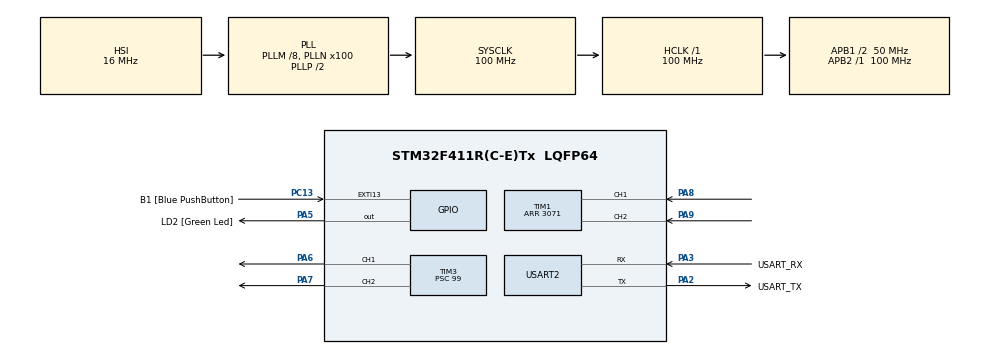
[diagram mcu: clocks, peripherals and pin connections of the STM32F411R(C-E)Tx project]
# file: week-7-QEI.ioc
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Mcu.Family=STM32F4
RCC.CortexFreq_Value=100000000
PA14.GPIO_Label=TCK
TIM1.EncoderMode=TIM_ENCODERMODE_TI12
RCC.SYSCLKSource=RCC_SYSCLKSOURCE_PLLCLK
ProjectManager.StackSize=0x400
PH0\ -\ OSC_IN.Signal=RCC_OSC_IN
RCC.HCLKFreq_Value=100000000
RCC.APB2TimFreq_Value=100000000
TIM3.Period=10000
RCC.AHBFreq_Value=100000000
TIM3.Channel-PWM\ Generation1\ CH1=TIM_CHANNEL_1
RCC.HSE_VALUE=8000000
PC13-ANTI_TAMP.Signal=GPXTI13
PC14-OSC32_IN.Mode=LSE-External-Oscillator
PA14.Mode=Serial_Wire
TIM3.Prescaler=99
NVIC.TIM2_IRQn=true\:0\:0\:false\:false\:true\:true\:true
PA8.Signal=S_TIM1_CH1
SH.S_TIM3_CH1.0=TIM3_CH1,PWM Generation1 CH1
RCC.FLatency-AdvancedSettings=FLASH_LATENCY_3
Mcu.Package=LQFP64
TIM2.Prescaler=99
PA6.Signal=S_TIM3_CH1
USART2.VirtualMode=VM_ASYNC
PA2.GPIO_Label=USART_TX
RCC.APB1TimFreq_Value=100000000
TIM3.Pulse-PWM\ Generation2\ CH2=0
TIM1.Period=3071
VP_TIM3_VS_ClockSourceINT.Mode=Internal
PA3.Signal=USART2_RX
PB3.GPIO_Label=SWO
PC15-OSC32_OUT.Mode=LSE-External-Oscillator
PC13-ANTI_TAMP.GPIO_Label=B1 [Blue PushButton]
PH1\ -\ OSC_OUT.Mode=HSE-External-Clock-Source
RCC.APB1CLKDivider=RCC_HCLK_DIV2
PC14-OSC32_IN.Signal=RCC_OSC32_IN
PA13.Signal=SYS_JTMS-SWDIO
PA3.Mode=Asynchronous
PH0\ -\ OSC_IN.Mode=HSE-External-Clock-Source
TIM3.Pulse-PWM\ Generation1\ CH1=0
SH.S_TIM1_CH1.0=TIM1_CH1,Encoder_Interface
ProjectManager.TargetToolchain=STM32CubeIDE
PA9.Signal=S_TIM1_CH2
PC15-OSC32_OUT.Signal=RCC_OSC32_OUT
PA5.Signal=GPIO_Output
SH.S_TIM3_CH2.0=TIM3_CH2,PWM Generation2 CH2
PH1\ -\ OSC_OUT.Signal=RCC_OSC_OUT
board=NUCLEO-F411RE
RCC.VCOOutputFreq_Value=200000000
NVIC.TIM3_IRQn=true\:0\:0\:false\:false\:true\:true\:true
RCC.APB2Freq_Value=100000000
SH.S_TIM1_CH2.0=TIM1_CH2,Encoder_Interface
VP_TIM2_VS_ClockSourceINT.Mode=Internal
TIM1.IC2Filter=2
PA13.Mode=Serial_Wire
Mcu.Name=STM32F411R(C-E)Tx
PA13.GPIO_Label=TMS
PA2.Signal=USART2_TX
RCC.48MHZClocksFreq_Value=50000000
PB3.Signal=SYS_JTDO-SWO
RCC.SYSCLKFreq_VALUE=100000000
PA5.GPIO_Label=LD2 [Green Led]
TIM1.IC1Filter=2
PC13-ANTI_TAMP.GPIO_ModeDefaultEXTI=GPIO_MODE_IT_FALLING
PA14.Signal=SYS_JTCK-SWCLK
ProjectManager.HeapSize=0x200
RCC.HSI_VALUE=16000000
NVIC.PriorityGroup=NVIC_PRIORITYGROUP_0
TIM3.Channel-PWM\ Generation2\ CH2=TIM_CHANNEL_2
RCC.PLLM=8
RCC.PLLN=100
PA2.Mode=Asynchronous
RCC.APB1Freq_Value=50000000
PA3.GPIO_Label=USART_RX
TIM3.OCMode_PWM-PWM\ Generation2\ CH2=TIM_OCMODE_PWM1
PA7.Signal=S_TIM3_CH2

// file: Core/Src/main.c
/* USER CODE BEGIN Header */
/**
 ******************************************************************************
 * @file           : main.c
 * @brief          : Main program body
 ******************************************************************************
 * @attention
 *
 * <h2><center>&copy; Copyright (c) 2021 STMicroelectronics.
 * All rights reserved.</center></h2>
 *
 * This software component is licensed by ST under BSD 3-Clause license,
 * the "License"; You may not use this file except in compliance with the
 * License. You may obtain a copy of the License at:
 *                        opensource.org/licenses/BSD-3-Clause
 *
 ******************************************************************************
 */
/* USER CODE END Header */
#include "main.h"

TIM_HandleTypeDef htim1;
TIM_HandleTypeDef htim2;
TIM_HandleTypeDef htim3;

UART_HandleTypeDef huart2;

/* USER CODE BEGIN PV */
int PWMOut = 3000;
uint64_t _micros = 0;
float EncoderVel = 0;
float Set_RPM = 0;
float EncoderVelConvert = 0;
uint64_t Timestamp_Encoder = 0;
uint64_t TimeOutputLoop = 0;
float K_P = 80, K_I = 0.5, K_D = 3;
/* USER CODE END PV */

void SystemClock_Config(void);
static void MX_GPIO_Init(void);
static void MX_USART2_UART_Init(void);
static void MX_TIM1_Init(void);
static void MX_TIM2_Init(void);
static void MX_TIM3_Init(void);
/* USER CODE BEGIN PFP */
uint64_t micros();
float EncoderVelocity_Update();
/* USER CODE END PFP */

int main(void)
{

  /* MCU Configuration--------------------------------------------------------*/

  /* Reset of all peripherals, Initializes the Flash interface and the Systick. */
  HAL_Init();

  /* Configure the system clock */
  SystemClock_Config();

  /* Initialize all configured peripherals */
  MX_GPIO_Init();
  MX_USART2_UART_Init();
  MX_TIM1_Init();
  MX_TIM2_Init();
  MX_TIM3_Init();
  /* USER CODE BEGIN 2 */
	HAL_TIM_Base_Start(&htim3);
	HAL_TIM_PWM_Start(&htim3, TIM_CHANNEL_1);
	HAL_TIM_PWM_Start(&htim3, TIM_CHANNEL_2);
	HAL_TIM_Base_Start_IT(&htim2);
	HAL_TIM_Encoder_Start(&htim1, TIM_CHANNEL_ALL);
  /* USER CODE END 2 */

  /* Infinite loop */
	while (1) {

    /* USER CODE BEGIN 3 */

//		Add LPF?
		if (micros() - Timestamp_Encoder >= 1000) {
			TimeOutputLoop = micros();
			Timestamp_Encoder = micros();
			EncoderVel = (EncoderVel * 99 + EncoderVelocity_Update()) / 100.0;
			EncoderVelConvert = ((EncoderVelConvert * 149)
					+ (EncoderVel * 60) / 3072) / 150.0;

			ControlPWM();
//			RunMotor();
			if (Set_RPM > 0) {
				__HAL_TIM_SET_COMPARE(&htim3, TIM_CHANNEL_1, PWMOut);
				__HAL_TIM_SET_COMPARE(&htim3, TIM_CHANNEL_2, 0);

			} else if (Set_RPM < 0) {
				__HAL_TIM_SET_COMPARE(&htim3, TIM_CHANNEL_1, 0);
				__HAL_TIM_SET_COMPARE(&htim3, TIM_CHANNEL_2, PWMOut);

			} else {
				__HAL_TIM_SET_COMPARE(&htim3, TIM_CHANNEL_1, 0);
				__HAL_TIM_SET_COMPARE(&htim3, TIM_CHANNEL_2, 0);

			}
		}
	}
  /* USER CODE END 3 */
}

void SystemClock_Config(void)
{
  RCC_OscInitTypeDef RCC_OscInitStruct = {0};
  RCC_ClkInitTypeDef RCC_ClkInitStruct = {0};

  /** Configure the main internal regulator output voltage
  */
  __HAL_RCC_PWR_CLK_ENABLE();
  __HAL_PWR_VOLTAGESCALING_CONFIG(PWR_REGULATOR_VOLTAGE_SCALE1);
  /** Initializes the RCC Oscillators according to the specified parameters
  * in the RCC_OscInitTypeDef structure.
  */
  RCC_OscInitStruct.OscillatorType = RCC_OSCILLATORTYPE_HSI;
  RCC_OscInitStruct.HSIState = RCC_HSI_ON;
  RCC_OscInitStruct.HSICalibrationValue = RCC_HSICALIBRATION_DEFAULT;
  RCC_OscInitStruct.PLL.PLLState = RCC_PLL_ON;
  RCC_OscInitStruct.PLL.PLLSource = RCC_PLLSOURCE_HSI;
  RCC_OscInitStruct.PLL.PLLM = 8;
  RCC_OscInitStruct.PLL.PLLN = 100;
  RCC_OscInitStruct.PLL.PLLP = RCC_PLLP_DIV2;
  RCC_OscInitStruct.PLL.PLLQ = 4;
  if (HAL_RCC_OscConfig(&RCC_OscInitStruct) != HAL_OK)
  {
    Error_Handler();
  }
  /** Initializes the CPU, AHB and APB buses clocks
  */
  RCC_ClkInitStruct.ClockType = RCC_CLOCKTYPE_HCLK|RCC_CLOCKTYPE_SYSCLK
                              |RCC_CLOCKTYPE_PCLK1|RCC_CLOCKTYPE_PCLK2;
  RCC_ClkInitStruct.SYSCLKSource = RCC_SYSCLKSOURCE_PLLCLK;
  RCC_ClkInitStruct.AHBCLKDivider = RCC_SYSCLK_DIV1;
  RCC_ClkInitStruct.APB1CLKDivider = RCC_HCLK_DIV2;
  RCC_ClkInitStruct.APB2CLKDivider = RCC_HCLK_DIV1;

  if (HAL_RCC_ClockConfig(&RCC_ClkInitStruct, FLASH_LATENCY_3) != HAL_OK)
  {
    Error_Handler();
  }
}

static void MX_TIM1_Init(void)
{

  TIM_Encoder_InitTypeDef sConfig = {0};
  TIM_MasterConfigTypeDef sMasterConfig = {0};

  htim1.Instance = TIM1;
  htim1.Init.Prescaler = 0;
  htim1.Init.CounterMode = TIM_COUNTERMODE_UP;
  htim1.Init.Period = 3071;
  htim1.Init.ClockDivision = TIM_CLOCKDIVISION_DIV1;
  htim1.Init.RepetitionCounter = 0;
  htim1.Init.AutoReloadPreload = TIM_AUTORELOAD_PRELOAD_DISABLE;
  sConfig.EncoderMode = TIM_ENCODERMODE_TI12;
  sConfig.IC1Polarity = TIM_ICPOLARITY_RISING;
  sConfig.IC1Selection = TIM_ICSELECTION_DIRECTTI;
  sConfig.IC1Prescaler = TIM_ICPSC_DIV1;
  sConfig.IC1Filter = 2;
  sConfig.IC2Polarity = TIM_ICPOLARITY_RISING;
  sConfig.IC2Selection = TIM_ICSELECTION_DIRECTTI;
  sConfig.IC2Prescaler = TIM_ICPSC_DIV1;
  sConfig.IC2Filter = 2;
  if (HAL_TIM_Encoder_Init(&htim1, &sConfig) != HAL_OK)
  {
    Error_Handler();
  }
  sMasterConfig.MasterOutputTrigger = TIM_TRGO_RESET;
  sMasterConfig.MasterSlaveMode = TIM_MASTERSLAVEMODE_DISABLE;
  if (HAL_TIMEx_MasterConfigSynchronization(&htim1, &sMasterConfig) != HAL_OK)
  {
    Error_Handler();
  }

}

static void MX_TIM2_Init(void)
{

  TIM_ClockConfigTypeDef sClockSourceConfig = {0};
  TIM_MasterConfigTypeDef sMasterConfig = {0};

  htim2.Instance = TIM2;
  htim2.Init.Prescaler = 99;
  htim2.Init.CounterMode = TIM_COUNTERMODE_UP;
  htim2.Init.Period = 4294967295;
  htim2.Init.ClockDivision = TIM_CLOCKDIVISION_DIV1;
  htim2.Init.AutoReloadPreload = TIM_AUTORELOAD_PRELOAD_DISABLE;
  if (HAL_TIM_Base_Init(&htim2) != HAL_OK)
  {
    Error_Handler();
  }
  sClockSourceConfig.ClockSource = TIM_CLOCKSOURCE_INTERNAL;
  if (HAL_TIM_ConfigClockSource(&htim2, &sClockSourceConfig) != HAL_OK)
  {
    Error_Handler();
  }
  sMasterConfig.MasterOutputTrigger = TIM_TRGO_RESET;
  sMasterConfig.MasterSlaveMode = TIM_MASTERSLAVEMODE_DISABLE;
  if (HAL_TIMEx_MasterConfigSynchronization(&htim2, &sMasterConfig) != HAL_OK)
  {
    Error_Handler();
  }

}

static void MX_TIM3_Init(void)
{

  TIM_ClockConfigTypeDef sClockSourceConfig = {0};
  TIM_MasterConfigTypeDef sMasterConfig = {0};
  TIM_OC_InitTypeDef sConfigOC = {0};

  htim3.Instance = TIM3;
  htim3.Init.Prescaler = 99;
  htim3.Init.CounterMode = TIM_COUNTERMODE_UP;
  htim3.Init.Period = 10000;
  htim3.Init.ClockDivision = TIM_CLOCKDIVISION_DIV1;
  htim3.Init.AutoReloadPreload = TIM_AUTORELOAD_PRELOAD_DISABLE;
  if (HAL_TIM_Base_Init(&htim3) != HAL_OK)
  {
    Error_Handler();
  }
  sClockSourceConfig.ClockSource = TIM_CLOCKSOURCE_INTERNAL;
  if (HAL_TIM_ConfigClockSource(&htim3, &sClockSourceConfig) != HAL_OK)
  {
    Error_Handler();
  }
  if (HAL_TIM_PWM_Init(&htim3) != HAL_OK)
  {
    Error_Handler();
  }
  sMasterConfig.MasterOutputTrigger = TIM_TRGO_RESET;
  sMasterConfig.MasterSlaveMode = TIM_MASTERSLAVEMODE_DISABLE;
  if (HAL_TIMEx_MasterConfigSynchronization(&htim3, &sMasterConfig) != HAL_OK)
  {
    Error_Handler();
  }
  sConfigOC.OCMode = TIM_OCMODE_PWM1;
  sConfigOC.Pulse = 0;
  sConfigOC.OCPolarity = TIM_OCPOLARITY_HIGH;
  sConfigOC.OCFastMode = TIM_OCFAST_DISABLE;
  if (HAL_TIM_PWM_ConfigChannel(&htim3, &sConfigOC, TIM_CHANNEL_1) != HAL_OK)
  {
    Error_Handler();
  }
  if (HAL_TIM_PWM_ConfigChannel(&htim3, &sConfigOC, TIM_CHANNEL_2) != HAL_OK)
  {
    Error_Handler();
  }
  HAL_TIM_MspPostInit(&htim3);

}

static void MX_USART2_UART_Init(void)
{

  huart2.Instance = USART2;
  huart2.Init.BaudRate = 115200;
  huart2.Init.WordLength = UART_WORDLENGTH_8B;
  huart2.Init.StopBits = UART_STOPBITS_1;
  huart2.Init.Parity = UART_PARITY_NONE;
  huart2.Init.Mode = UART_MODE_TX_RX;
  huart2.Init.HwFlowCtl = UART_HWCONTROL_NONE;
  huart2.Init.OverSampling = UART_OVERSAMPLING_16;
  if (HAL_UART_Init(&huart2) != HAL_OK)
  {
    Error_Handler();
  }

}

static void MX_GPIO_Init(void)
{
  GPIO_InitTypeDef GPIO_InitStruct = {0};

  /* GPIO Ports Clock Enable */
  __HAL_RCC_GPIOC_CLK_ENABLE();
  __HAL_RCC_GPIOH_CLK_ENABLE();
  __HAL_RCC_GPIOA_CLK_ENABLE();
  __HAL_RCC_GPIOB_CLK_ENABLE();

  /*Configure GPIO pin Output Level */
  HAL_GPIO_WritePin(LD2_GPIO_Port, LD2_Pin, GPIO_PIN_RESET);

  /*Configure GPIO pin : B1_Pin */
  GPIO_InitStruct.Pin = B1_Pin;
  GPIO_InitStruct.Mode = GPIO_MODE_IT_FALLING;
  GPIO_InitStruct.Pull = GPIO_NOPULL;
  HAL_GPIO_Init(B1_GPIO_Port, &GPIO_InitStruct);

  /*Configure GPIO pin : LD2_Pin */
  GPIO_InitStruct.Pin = LD2_Pin;
  GPIO_InitStruct.Mode = GPIO_MODE_OUTPUT_PP;
  GPIO_InitStruct.Pull = GPIO_NOPULL;
  GPIO_InitStruct.Speed = GPIO_SPEED_FREQ_LOW;
  HAL_GPIO_Init(LD2_GPIO_Port, &GPIO_InitStruct);

}

/* USER CODE BEGIN 4 */
#define  HTIM_ENCODER htim1
#define  MAX_SUBPOSITION_OVERFLOW 1536
#define  MAX_ENCODER_PERIOD 3072
uint32_t EncoderNowPosition = 0;
float EncoderVelocity_Update() {
	//Save Last state
	static uint32_t EncoderLastPosition = 0;
	static uint64_t EncoderLastTimestamp = 0;

	//read data
	EncoderNowPosition = HTIM_ENCODER.Instance->CNT;
	uint64_t EncoderNowTimestamp = micros();

	int32_t EncoderPositionDiff;
	uint64_t EncoderTimeDiff;

	EncoderTimeDiff = EncoderNowTimestamp - EncoderLastTimestamp;
	EncoderPositionDiff = EncoderNowPosition - EncoderLastPosition;

	//compensate overflow and underflow
	if (EncoderPositionDiff >= MAX_SUBPOSITION_OVERFLOW) {
		EncoderPositionDiff -= MAX_ENCODER_PERIOD;
	} else if (-EncoderPositionDiff >= MAX_SUBPOSITION_OVERFLOW) {
		EncoderPositionDiff += MAX_ENCODER_PERIOD;
	}

	//Update Position and time
	EncoderLastPosition = EncoderNowPosition;
	EncoderLastTimestamp = EncoderNowTimestamp;

	//Calculate velocity
	//EncoderTimeDiff is in uS
	return (EncoderPositionDiff * 1000000) / (float) EncoderTimeDiff;

}
void ControlPWM() {
	static float SummaryError, ErrorValue, LastError;
	if (Set_RPM >= 0) {
		ErrorValue = Set_RPM - EncoderVelConvert;
	}
		else if (Set_RPM < 0) {
		ErrorValue = Set_RPM*(-1) - EncoderVelConvert*(-1);
	}
	SummaryError += ErrorValue;
			PWMOut = K_P * ErrorValue + (K_I * SummaryError)
					+ K_D * (ErrorValue - LastError);
			LastError = ErrorValue;
			if(PWMOut > 10000){
				PWMOut = 10000;
			}
			if(PWMOut < -10000){
				PWMOut = -10000;
						}
			return PWMOut;
}
//void RunMotor() {
//	if (Set_RPM > 0) {
//		__HAL_TIM_SET_COMPARE(&htim3, TIM_CHANNEL_1, PWMOut);
//		__HAL_TIM_SET_COMPARE(&htim3, TIM_CHANNEL_2, 0);
//
//	} else if (Set_RPM < 0) {
//		__HAL_TIM_SET_COMPARE(&htim3, TIM_CHANNEL_1, 0);
//		__HAL_TIM_SET_COMPARE(&htim3, TIM_CHANNEL_2, PWMOut);
//
//	} else {
//		__HAL_TIM_SET_COMPARE(&htim3, TIM_CHANNEL_1, 0);
//		__HAL_TIM_SET_COMPARE(&htim3, TIM_CHANNEL_2, 0);
//
//	}
//}
void HAL_TIM_PeriodElapsedCallback(TIM_HandleTypeDef *htim) {
	if (htim == &htim2) {
		_micros += 4294967295;
	}
}
uint64_t micros() {
	return _micros + htim2.Instance->CNT;
}
/* USER CODE END 4 */

void Error_Handler(void)
{
	__disable_irq();
	while (1) {
	}
}

/************************ (C) COPYRIGHT STMicroelectronics *****END OF FILE****/
